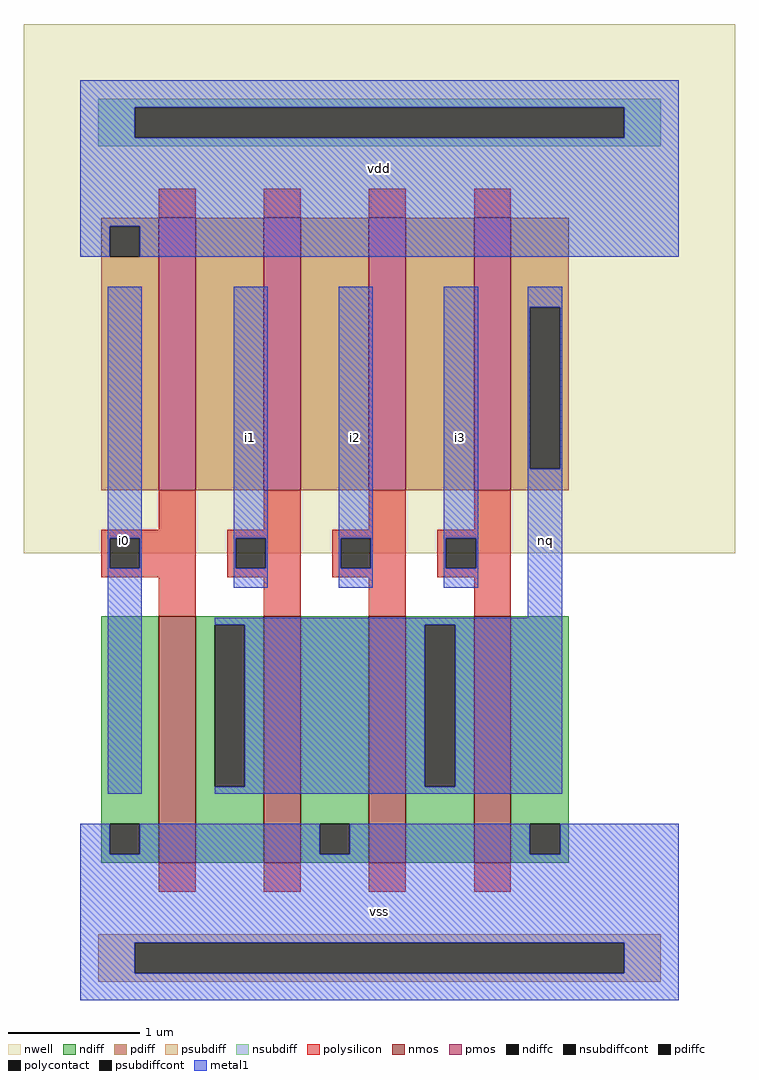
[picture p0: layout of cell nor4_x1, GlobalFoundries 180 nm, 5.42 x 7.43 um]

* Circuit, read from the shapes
.subckt nor4_x1 vss vdd nq i0 i1 i2 i3
XM1 nq i0 vss vss nfet_03v3 w=1.875u l=0.28u
XM2 vss i1 nq vss nfet_03v3 w=1.875u l=0.28u
XM3 nq i2 vss vss nfet_03v3 w=1.875u l=0.28u
XM4 vss i3 nq vss nfet_03v3 w=1.875u l=0.28u
XM5 n1 i0 vdd vdd pfet_03v3 w=2.075u l=0.28u
XM6 n2 i1 n1 vdd pfet_03v3 w=2.075u l=0.28u
XM7 n3 i2 n2 vdd pfet_03v3 w=2.075u l=0.28u
XM8 nq i3 n3 vdd pfet_03v3 w=2.075u l=0.28u
.ends

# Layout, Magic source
magic
tech gf180mcuD
magscale 1 10
<< nwell >>
rect -86 680 998 1486
<< nmos >>
rect 120 209 176 584
rect 280 209 336 584
rect 440 209 496 584
rect 600 209 656 584
<< pmos >>
rect 120 776 176 1191
rect 280 776 336 1191
rect 440 776 496 1191
rect 600 776 656 1191
<< ndiff >>
rect 32 268 120 584
rect 32 222 45 268
rect 91 222 120 268
rect 32 209 120 222
rect 176 571 280 584
rect 176 325 205 571
rect 251 325 280 571
rect 176 209 280 325
rect 336 268 440 584
rect 336 222 365 268
rect 411 222 440 268
rect 336 209 440 222
rect 496 571 600 584
rect 496 325 525 571
rect 571 325 600 571
rect 496 209 600 325
rect 656 268 744 584
rect 656 222 685 268
rect 731 222 744 268
rect 656 209 744 222
<< pdiff >>
rect 32 1178 120 1191
rect 32 1132 45 1178
rect 91 1132 120 1178
rect 32 776 120 1132
rect 176 776 280 1191
rect 336 776 440 1191
rect 496 776 600 1191
rect 656 1055 744 1191
rect 656 809 685 1055
rect 731 809 744 1055
rect 656 776 744 809
<< ndiffc >>
rect 45 222 91 268
rect 205 325 251 571
rect 365 222 411 268
rect 525 325 571 571
rect 685 222 731 268
<< pdiffc >>
rect 45 1132 91 1178
rect 685 809 731 1055
<< psubdiff >>
rect 28 87 884 100
rect 28 41 83 87
rect 829 41 884 87
rect 28 28 884 41
<< nsubdiff >>
rect 28 1359 884 1372
rect 28 1313 83 1359
rect 829 1313 884 1359
rect 28 1300 884 1313
<< psubdiffcont >>
rect 83 41 829 87
<< nsubdiffcont >>
rect 83 1313 829 1359
<< polysilicon >>
rect 120 1191 176 1235
rect 280 1191 336 1235
rect 440 1191 496 1235
rect 600 1191 656 1235
rect 120 716 176 776
rect 280 716 336 776
rect 440 716 496 776
rect 600 716 656 776
rect 32 703 176 716
rect 32 657 45 703
rect 91 657 176 703
rect 32 644 176 657
rect 224 703 336 716
rect 224 657 237 703
rect 283 657 336 703
rect 224 644 336 657
rect 384 703 496 716
rect 384 657 397 703
rect 443 657 496 703
rect 384 644 496 657
rect 544 703 656 716
rect 544 657 557 703
rect 603 657 656 703
rect 544 644 656 657
rect 120 584 176 644
rect 280 584 336 644
rect 440 584 496 644
rect 600 584 656 644
rect 120 165 176 209
rect 280 165 336 209
rect 440 165 496 209
rect 600 165 656 209
<< polycontact >>
rect 45 657 91 703
rect 237 657 283 703
rect 397 657 443 703
rect 557 657 603 703
<< metal1 >>
rect 0 1359 912 1400
rect 0 1313 83 1359
rect 829 1313 912 1359
rect 0 1178 912 1313
rect 0 1132 45 1178
rect 91 1132 912 1178
rect 42 703 94 1086
rect 42 657 45 703
rect 91 657 94 703
rect 42 314 94 657
rect 234 703 286 1086
rect 234 657 237 703
rect 283 657 286 703
rect 234 628 286 657
rect 394 703 446 1086
rect 394 657 397 703
rect 443 657 446 703
rect 394 628 446 657
rect 554 703 606 1086
rect 554 657 557 703
rect 603 657 606 703
rect 554 628 606 657
rect 682 1055 734 1086
rect 682 809 685 1055
rect 731 809 734 1055
rect 682 582 734 809
rect 205 571 734 582
rect 251 325 525 571
rect 571 325 734 571
rect 205 314 734 325
rect 0 222 45 268
rect 91 222 365 268
rect 411 222 685 268
rect 731 222 912 268
rect 0 87 912 222
rect 0 41 83 87
rect 829 41 912 87
rect 0 0 912 41
<< labels >>
rlabel metal1 s 0 0 912 268 4 vss
port 3 nsew
rlabel metal1 s 0 1132 912 1400 4 vdd
port 5 nsew
rlabel metal1 s 682 314 734 1086 4 nq
port 7 nsew
rlabel metal1 s 42 314 94 1086 4 i0
port 9 nsew
rlabel metal1 s 234 628 286 1086 4 i1
port 11 nsew
rlabel metal1 s 394 628 446 1086 4 i2
port 13 nsew
rlabel metal1 s 554 628 606 1086 4 i3
port 15 nsew
<< end >>
